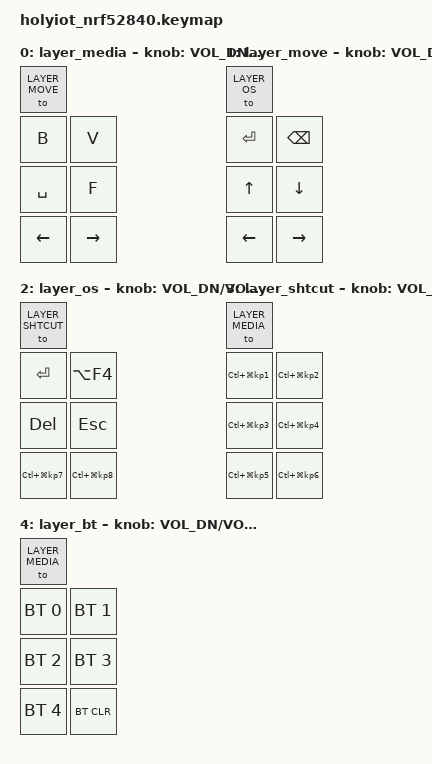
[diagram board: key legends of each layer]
#include <behaviors.dtsi>
#include <dt-bindings/zmk/keys.h>
#include <dt-bindings/zmk/bt.h>
// #include <dt-bindings/zmk/trackball_pim447.h>

#define LAYER_MEDIA  0
#define LAYER_MOVE   1
#define LAYER_OS     2
#define LAYER_SHTCUT 3
#define LAYER_BT     4
#define LAYER_DEFAULT LAYER_MEDIA

// Gueg's mk layout :
// 0
// 1  2
// 3  4  EC11
// 5  6  PIM447

/ {
    combos {
        compatible = "zmk,combos";

        combo_bt_layer {
            timeout-ms = <50>;
            key-positions = <1 6>;
            bindings = <&to LAYER_BT>;
        };

        combo_open_ep {
            timeout-ms = <50>;
            key-positions = <1 2>;
            bindings = <&kp LC(LG(KP_N9))>;
        };

        combo_pim_toggle {
            timeout-ms = <50>;
            key-positions = <3 4>;
            bindings = <&pim447_toggle>;
        };
        
        combo_virtual_keybd {
            timeout-ms = <50>;
            key-positions = <5 6>;
            bindings = <&kp LC(LG(KP_N0))>;
        };
    };
};

/ {
    keymap {
        compatible = "zmk,keymap";

        layer_media {

            // [NEXT LAYER]
            // [AUD TRACK]  [SUB TRACK]
            // [PAUSE]      [FULLSCREEN] 
            // [LEFT]       [RIGHT]
            
            bindings = <
                &to LAYER_MOVE
                &kp B           &kp V
                &kp SPACE       &kp F
                &kp LEFT        &kp RIGHT
            >;

            sensor-bindings = <&inc_dec_kp C_VOL_DN C_VOL_UP>;
        };

        layer_move {

            // [NEXT LAYER]
            // [ENTER]    [BACKSPACE]
            // [UP]       [DOWN] 
            // [LEFT]     [RIGHT]

            bindings = <
                &to LAYER_OS
                &kp ENTER       &kp BACKSPACE
                &kp UP          &kp DOWN
                &kp LEFT        &kp RIGHT
            >;

            sensor-bindings = <&inc_dec_kp C_VOL_DN C_VOL_UP>;
            
        };

        layer_os {

            // [NEXT LAYER]
            // [ENTER]      [ALT F4]
            // [SUPPR]      [ESCAPE] 
            // [TO_TV]      [TO_PC]

            bindings = <
                &to LAYER_SHTCUT
                &kp ENTER           &kp LA(F4)
                &kp DEL             &kp ESC
                &kp LC(LG(KP_N7))   &kp LC(LG(KP_N8))
            >;

            sensor-bindings = <&inc_dec_kp C_VOL_DN C_VOL_UP>;
        };
        
        
        layer_shtcut {

            // [NEXT LAYER]
            // [SERIE SOIR]  [SERIE ESTELLE]
            // [DOCS]        [NEXT EPISODE] 
            // [GAME]        [PLAYNITE]

            bindings = <
                &to LAYER_MEDIA
                &kp LC(LG(KP_N1))    &kp LC(LG(KP_N2))
                &kp LC(LG(KP_N3))    &kp LC(LG(KP_N4))
                &kp LC(LG(KP_N5))    &kp LC(LG(KP_N6)) 
            >;

            sensor-bindings = <&inc_dec_kp C_VOL_DN C_VOL_UP>;
        };


        layer_bt {

            // [BACK TO LAYER_MEDIA]
            // [BT FIXE]  [BT PORT]
            // [BT 2]     [BT 3] 
            // [BT 4]     [BT CLR]

            bindings = <
                &to LAYER_MEDIA
                &bt BT_SEL 0    &bt BT_SEL 1
                &bt BT_SEL 2    &bt BT_SEL 3
                &bt BT_SEL 4    &bt BT_CLR 
            >;
            
            sensor-bindings = <&inc_dec_kp C_VOL_DN C_VOL_UP>;
        };
    };
};





// --- PIM447 modes ---
// &pim447_move: set trackball mode to "move" .
// &pim447_scroll: set trackball mode to "scroll" .
// &pim447_toggle: toggle trackball mode (from "scroll" to "move", or vice versa).
// &pim447_move_scroll: set trackball mode to "move" when pressed, then to "scroll" when released.
// &pim447_scroll_move: set trackball mode to "scroll" when pressed, then to "move" when released.
// &pim447_toggle_toggle: toggle trackball mode when pressed, then toggle again when released.


